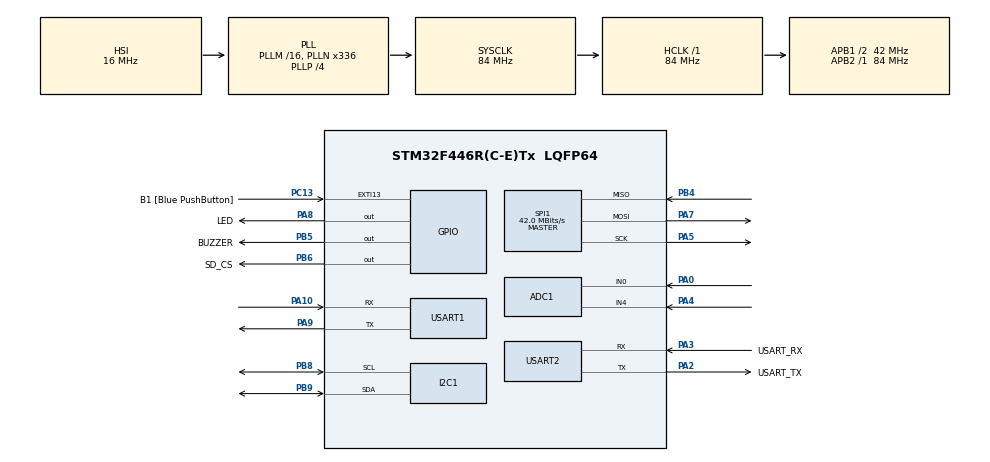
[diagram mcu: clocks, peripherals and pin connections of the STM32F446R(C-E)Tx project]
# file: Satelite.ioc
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ADC1.Channel-0\#ChannelRegularConversion=ADC_CHANNEL_0
ADC1.NbrOfConversionFlag=1
ADC1.Rank-0\#ChannelRegularConversion=1
ADC1.SamplingTime-0\#ChannelRegularConversion=ADC_SAMPLETIME_3CYCLES
ADC1.master=1
FREERTOS.Tasks01=defaultTask,24,128,StartDefaultTask,Default,NULL,Dynamic,NULL,NULL
FREERTOS.configUSE_NEWLIB_REENTRANT=1
Mcu.Family=STM32F4
Mcu.Name=STM32F446R(C-E)Tx
Mcu.Package=LQFP64
NVIC.PriorityGroup=NVIC_PRIORITYGROUP_4
NVIC.TIM1_UP_TIM10_IRQn=true\:15\:0\:false\:false\:true\:false\:false\:true\:true
NVIC.TimeBase=TIM1_UP_TIM10_IRQn
NVIC.TimeBaseIP=TIM1
NVIC.USART1_IRQn=true\:5\:0\:false\:false\:true\:true\:true\:true\:true
PA0-WKUP.Signal=ADCx_IN0
PA10.Mode=Asynchronous
PA10.Signal=USART1_RX
PA13.GPIO_Label=TMS
PA13.Mode=Serial_Wire
PA13.Signal=SYS_JTMS-SWDIO
PA14.GPIO_Label=TCK
PA14.Mode=Serial_Wire
PA14.Signal=SYS_JTCK-SWCLK
PA2.GPIO_Label=USART_TX
PA2.Mode=Asynchronous
PA2.Signal=USART2_TX
PA3.GPIO_Label=USART_RX
PA3.Mode=Asynchronous
PA3.Signal=USART2_RX
PA4.Signal=ADCx_IN4
PA5.Mode=Full_Duplex_Master
PA5.Signal=SPI1_SCK
PA7.Mode=Full_Duplex_Master
PA7.Signal=SPI1_MOSI
PA8.GPIO_Label=LED
PA8.Signal=GPIO_Output
PA9.Mode=Asynchronous
PA9.Signal=USART1_TX
PB3.GPIO_Label=SWO
PB3.Signal=SYS_JTDO-SWO
PB4.Mode=Full_Duplex_Master
PB4.Signal=SPI1_MISO
PB5.GPIO_Label=BUZZER
PB5.Signal=GPIO_Output
PB6.GPIO_Label=SD_CS
PB6.Signal=GPIO_Output
PB8.Mode=I2C
PB8.Signal=I2C1_SCL
PB9.Mode=I2C
PB9.Signal=I2C1_SDA
PC13.GPIO_Label=B1 [Blue PushButton]
PC13.GPIO_ModeDefaultEXTI=GPIO_MODE_IT_FALLING
PC13.Signal=GPXTI13
PC14-OSC32_IN.Mode=LSE-External-Oscillator
PC14-OSC32_IN.Signal=RCC_OSC32_IN
PC15-OSC32_OUT.Mode=LSE-External-Oscillator
PC15-OSC32_OUT.Signal=RCC_OSC32_OUT
PH0-OSC_IN.Mode=HSE-External-Oscillator
PH0-OSC_IN.Signal=RCC_OSC_IN
PH1-OSC_OUT.Mode=HSE-External-Oscillator
PH1-OSC_OUT.Signal=RCC_OSC_OUT
ProjectManager.HeapSize=0x200
ProjectManager.StackSize=0x400
ProjectManager.TargetToolchain=STM32CubeIDE
RCC.48MHZClocksFreq_Value=84000000
RCC.AHBFreq_Value=84000000
RCC.APB1CLKDivider=RCC_HCLK_DIV2
RCC.APB1Freq_Value=42000000
RCC.APB1TimFreq_Value=84000000
RCC.APB2Freq_Value=84000000
RCC.APB2TimFreq_Value=84000000
RCC.CortexFreq_Value=84000000
RCC.FLatency-AdvancedSettings=FLASH_LATENCY_2
RCC.HCLKFreq_Value=84000000
RCC.HSE_VALUE=8000000
RCC.HSI_VALUE=16000000
RCC.PLLN=336
RCC.PLLP=RCC_PLLP_DIV4
RCC.SYSCLKFreq_VALUE=84000000
RCC.SYSCLKSource=RCC_SYSCLKSOURCE_PLLCLK
RCC.USBFreq_Value=168000000
RCC.VCOOutputFreq_Value=336000000
SH.ADCx_IN0.0=ADC1_IN0,IN0
SH.ADCx_IN4.0=ADC1_IN4,IN4
SPI1.CalculateBaudRate=42.0 MBits/s
SPI1.Direction=SPI_DIRECTION_2LINES
SPI1.Mode=SPI_MODE_MASTER
SPI1.VirtualType=VM_MASTER
USART1.VirtualMode=VM_ASYNC
USART2.VirtualMode=VM_ASYNC
VP_FREERTOS_VS_CMSIS_V2.Mode=CMSIS_V2
VP_SYS_VS_tim1.Mode=TIM1
board=NUCLEO-F446RE

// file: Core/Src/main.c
/* USER CODE BEGIN Header */
/**
  ******************************************************************************
  * @file           : main.c
  * @brief          : Satellite Simulator — Main program
  * @description    : FreeRTOS-based satellite simulator on Nucleo-F446RE
  *                   7 tasks: IMU, BMP, Display, Telemetry, Alarm, SDLog, ESP32
  *                   4 operational modes: NOMINAL, SAFE, SCIENCE, ERROR
  *                   ESP32 WiFi bridge for remote monitoring and control
  ******************************************************************************
  */
/* USER CODE END Header */

#include "main.h"
#include "cmsis_os.h"

/* USER CODE BEGIN Includes */
#include <stdio.h>
#include <string.h>
#include <math.h>
#include "ssd1306.h"
#include "ssd1306_fonts.h"
/* USER CODE END Includes */

/* USER CODE BEGIN PTD */

/**
 * @brief IMU sensor data (MPU-6050)
 */
typedef struct {
    float accel_x;    /**< Accelerometer X axis (g)    */
    float accel_y;    /**< Accelerometer Y axis (g)    */
    float accel_z;    /**< Accelerometer Z axis (g)    */
    float gyro_x;     /**< Gyroscope X axis (deg/s)    */
    float gyro_y;     /**< Gyroscope Y axis (deg/s)    */
    float gyro_z;     /**< Gyroscope Z axis (deg/s)    */
    float temp;       /**< Die temperature (C)         */
} IMU_Data_t;

/**
 * @brief Barometric sensor data (BMP280)
 */
typedef struct {
    float temperature;  /**< Temperature (C)    */
    float pressure;     /**< Pressure (hPa)     */
    float altitude;     /**< Altitude (m)       */
} BMP_Data_t;

/**
 * @brief Alarm condition flags
 */
typedef struct {
    uint8_t tilt;           /**< Tilt threshold exceeded       */
    uint8_t temp_high;      /**< Temperature above limit       */
    uint8_t pres_abnormal;  /**< Pressure out of range         */
    uint8_t alt_critical;   /**< Altitude out of safe range    */
} Alarm_Flags_t;

/* USER CODE END PTD */

/* USER CODE BEGIN PD */

/* ---------- I2C Addresses ---------- */
#define MPU6050_ADDR        (0x68 << 1)
#define BMP280_ADDR         (0x76 << 1)

/* ---------- MPU-6050 Registers ---------- */
#define MPU_REG_WHO_AM_I    0x75
#define MPU_REG_PWR_MGMT1   0x6B
#define MPU_REG_ACCEL_CFG   0x1C
#define MPU_REG_GYRO_CFG    0x1B
#define MPU_REG_DATA_START  0x3B

/* ---------- BMP280 Registers ---------- */
#define BMP_REG_CTRL_MEAS   0xF4
#define BMP_REG_CONFIG      0xF5
#define BMP_REG_CALIB       0x88
#define BMP_REG_DATA_START  0xF7

/* ---------- Joystick Thresholds ---------- */
#define JOY_LEFT_THRESH     1000
#define JOY_RIGHT_THRESH    3000

/* ---------- Satellite Modes ---------- */
#define MODE_NOMINAL        0
#define MODE_SAFE           1
#define MODE_SCIENCE        2
#define MODE_ERROR_LOW      3
#define MODE_ERROR_HIGH     4

/* ---------- Error Acknowledgment ---------- */
#define ERROR_ACK_SEQ_LEN   3   /* Joystick sequence: L -> R -> L */

/* ---------- SD Card ---------- */
#define SD_BLOCK_SIZE       512
#define LOG_SYNC_MARKER     0xAA55AA55

/* ---------- ESP32 UART ---------- */
#define ESP_RX_BUF_SIZE     128

/* ---------- Display ---------- */
#define SCREEN_COUNT        5   /* IMU / BMP / ALARM / MODE / STATUS */

/* USER CODE END PD */

ADC_HandleTypeDef hadc1;
I2C_HandleTypeDef hi2c1;
SPI_HandleTypeDef hspi1;
UART_HandleTypeDef huart1;
UART_HandleTypeDef huart2;

/* Definitions for defaultTask */
osThreadId_t defaultTaskHandle;
const osThreadAttr_t defaultTask_attributes = {
    .name = "defaultTask",
    .stack_size = 128 * 4,
    .priority = (osPriority_t) osPriorityNormal,
};

/* USER CODE BEGIN PV */

/* ========== Shared Sensor Data ========== */
IMU_Data_t   imu_data   = {0};
BMP_Data_t   bmp_data   = {0};
Alarm_Flags_t alarm_flags = {0};

/* ========== Mutexes ========== */
osMutexId_t mutexIMU_Handle;
osMutexId_t mutexBMP_Handle;
osMutexId_t mutexAlarm_Handle;
osMutexId_t mutexI2C_Handle;
osMutexId_t mutexSPI_Handle;

const osMutexAttr_t mutexIMU_attr   = { .name = "mutexIMU"   };
const osMutexAttr_t mutexBMP_attr   = { .name = "mutexBMP"   };
const osMutexAttr_t mutexAlarm_attr = { .name = "mutexAlarm" };
const osMutexAttr_t mutexI2C_attr   = { .name = "mutexI2C"   };
const osMutexAttr_t mutexSPI_attr   = { .name = "mutexSPI"   };

/* ========== Configurable Alarm Thresholds ========== */
static volatile float alarm_tilt_g    = 1.5f;
static volatile float alarm_temp_high = 60.0f;
static volatile float alarm_pres_low  = 900.0f;
static volatile float alarm_pres_high = 1100.0f;
static volatile float alarm_alt_high  = 3000.0f;
static volatile float alarm_alt_low   = -200.0f;

/* ========== System State ========== */
static volatile uint8_t sat_mode       = MODE_NOMINAL;
static volatile uint8_t buzzer_enabled = 1;
static volatile uint8_t error_ack_step = 0;
static volatile uint8_t sd_initialized = 0;
static volatile uint8_t current_screen = 0;

/* ========== BMP280 Calibration Coefficients ========== */
static uint16_t bmp_dig_T1;
static int16_t  bmp_dig_T2, bmp_dig_T3;
static uint16_t bmp_dig_P1;
static int16_t  bmp_dig_P2, bmp_dig_P3, bmp_dig_P4, bmp_dig_P5;
static int16_t  bmp_dig_P6, bmp_dig_P7, bmp_dig_P8, bmp_dig_P9;
static int32_t  bmp_t_fine;

/* ========== ESP32 UART Reception ========== */
static uint8_t          esp_rx_byte;
static char             esp_rx_buf[ESP_RX_BUF_SIZE];
static volatile uint8_t esp_rx_idx    = 0;
static volatile uint8_t esp_cmd_ready = 0;
static char             esp_cmd[ESP_RX_BUF_SIZE];

/* ========== Task Handles ========== */
osThreadId_t taskIMU_Handle;
osThreadId_t taskBMP_Handle;
osThreadId_t taskDisplay_Handle;
osThreadId_t taskTelemetry_Handle;
osThreadId_t taskAlarm_Handle;
osThreadId_t taskSDLog_Handle;
osThreadId_t taskESP32_Handle;

/* ========== Task Attributes ========== */
const osThreadAttr_t taskIMU_attr = {
    .name = "Task_IMU",   .stack_size = 256 * 4,
    .priority = (osPriority_t) osPriorityAboveNormal
};
const osThreadAttr_t taskBMP_attr = {
    .name = "Task_BMP",   .stack_size = 256 * 4,
    .priority = (osPriority_t) osPriorityNormal
};
const osThreadAttr_t taskDisplay_attr = {
    .name = "Task_Display", .stack_size = 512 * 4,
    .priority = (osPriority_t) osPriorityNormal
};
const osThreadAttr_t taskTelemetry_attr = {
    .name = "Task_Telemetry", .stack_size = 512 * 4,
    .priority = (osPriority_t) osPriorityBelowNormal
};
const osThreadAttr_t taskAlarm_attr = {
    .name = "Task_Alarm",  .stack_size = 256 * 4,
    .priority = (osPriority_t) osPriorityAboveNormal
};
const osThreadAttr_t taskSDLog_attr = {
    .name = "Task_SDLog",  .stack_size = 512 * 4,
    .priority = (osPriority_t) osPriorityBelowNormal
};
const osThreadAttr_t taskESP32_attr = {
    .name = "Task_ESP32",  .stack_size = 512 * 4,
    .priority = (osPriority_t) osPriorityNormal
};

/* USER CODE END PV */

void SystemClock_Config(void);
static void MX_GPIO_Init(void);
static void MX_USART2_UART_Init(void);
static void MX_I2C1_Init(void);
static void MX_ADC1_Init(void);
static void MX_SPI1_Init(void);
static void MX_USART1_UART_Init(void);
void StartDefaultTask(void *argument);

/* USER CODE BEGIN PFP */
void Task_IMU(void *argument);
void Task_BMP(void *argument);
void Task_Display(void *argument);
void Task_Telemetry(void *argument);
void Task_Alarm(void *argument);
void Task_SDLog(void *argument);
void Task_ESP32(void *argument);
/* USER CODE END PFP */

/* USER CODE BEGIN 0 */

/* ================================================================
 *                    BMP280 Compensation
 * ================================================================ */

/**
 * @brief Compensate raw temperature reading using factory calibration
 * @param adc_T Raw 20-bit temperature value
 * @return Temperature in degrees Celsius
 */
static float BMP280_CompensateTemp(int32_t adc_T)
{
    float var1 = (((float)adc_T) / 16384.0f - ((float)bmp_dig_T1) / 1024.0f)
                 * ((float)bmp_dig_T2);
    float var2 = ((((float)adc_T) / 131072.0f - ((float)bmp_dig_T1) / 8192.0f)
                 * (((float)adc_T) / 131072.0f - ((float)bmp_dig_T1) / 8192.0f))
                 * ((float)bmp_dig_T3);

    bmp_t_fine = (int32_t)(var1 + var2);
    return (var1 + var2) / 5120.0f;
}

/**
 * @brief Compensate raw pressure reading using factory calibration
 * @param adc_P Raw 20-bit pressure value
 * @return Pressure in hPa
 * @note Must call BMP280_CompensateTemp() first to set bmp_t_fine
 */
static float BMP280_CompensatePressure(int32_t adc_P)
{
    float var1 = ((float)bmp_t_fine / 2.0f) - 64000.0f;
    float var2 = var1 * var1 * ((float)bmp_dig_P6) / 32768.0f;
    var2 = var2 + var1 * ((float)bmp_dig_P5) * 2.0f;
    var2 = (var2 / 4.0f) + (((float)bmp_dig_P4) * 65536.0f);
    var1 = (((float)bmp_dig_P3) * var1 * var1 / 524288.0f
           + ((float)bmp_dig_P2) * var1) / 524288.0f;
    var1 = (1.0f + var1 / 32768.0f) * ((float)bmp_dig_P1);

    if (var1 == 0.0f)
        return 0.0f;

    float p = 1048576.0f - (float)adc_P;
    p = (p - (var2 / 4096.0f)) * 6250.0f / var1;
    var1 = ((float)bmp_dig_P9) * p * p / 2147483648.0f;
    var2 = p * ((float)bmp_dig_P8) / 32768.0f;
    p = p + (var1 + var2 + ((float)bmp_dig_P7)) / 16.0f;

    return p / 100.0f;
}

/* ================================================================
 *                    Hardware Helpers
 * ================================================================ */

/**
 * @brief Read a single ADC channel (software triggered, polling)
 * @param channel ADC channel number (e.g. ADC_CHANNEL_0)
 * @return 12-bit ADC value (0–4095)
 */
static uint16_t ADC_ReadChannel(uint32_t channel)
{
    ADC_ChannelConfTypeDef config = {0};
    config.Channel     = channel;
    config.Rank        = 1;
    config.SamplingTime = ADC_SAMPLETIME_3CYCLES;

    HAL_ADC_ConfigChannel(&hadc1, &config);
    HAL_ADC_Start(&hadc1);
    HAL_ADC_PollForConversion(&hadc1, 10);
    uint16_t value = HAL_ADC_GetValue(&hadc1);
    HAL_ADC_Stop(&hadc1);

    return value;
}

/**
 * @brief Emit buzzer beeps (respects buzzer_enabled flag)
 * @param on_ms  Duration of each beep in ms
 * @param off_ms Pause between beeps in ms
 * @param count  Number of beeps
 */
static void Buzzer_Beep(uint16_t on_ms, uint16_t off_ms, uint8_t count)
{
    if (!buzzer_enabled)
        return;

    for (uint8_t i = 0; i < count; i++)
    {
        HAL_GPIO_WritePin(BUZZER_GPIO_Port, BUZZER_Pin, GPIO_PIN_SET);
        osDelay(on_ms);
        HAL_GPIO_WritePin(BUZZER_GPIO_Port, BUZZER_Pin, GPIO_PIN_RESET);
        if (i < count - 1)
            osDelay(off_ms);
    }
}

/* ================================================================
 *                    SD Card (Raw SPI)
 * ================================================================ */

static void SD_CS_Low(void)
{
    HAL_GPIO_WritePin(SD_CS_GPIO_Port, SD_CS_Pin, GPIO_PIN_RESET);
}

static void SD_CS_High(void)
{
    HAL_GPIO_WritePin(SD_CS_GPIO_Port, SD_CS_Pin, GPIO_PIN_SET);
}

static uint8_t SD_SPI_Byte(uint8_t tx_byte)
{
    uint8_t rx_byte;
    HAL_SPI_TransmitReceive(&hspi1, &tx_byte, &rx_byte, 1, HAL_MAX_DELAY);
    return rx_byte;
}

static uint8_t SD_SendCmd(uint8_t cmd, uint32_t arg)
{
    uint8_t crc = 0xFF;
    if (cmd == 0) crc = 0x95;
    if (cmd == 8) crc = 0x87;

    SD_SPI_Byte(0xFF);
    SD_SPI_Byte(0x40 | cmd);
    SD_SPI_Byte((arg >> 24) & 0xFF);
    SD_SPI_Byte((arg >> 16) & 0xFF);
    SD_SPI_Byte((arg >> 8)  & 0xFF);
    SD_SPI_Byte(arg & 0xFF);
    SD_SPI_Byte(crc);

    uint8_t response;
    for (uint8_t i = 0; i < 8; i++)
    {
        response = SD_SPI_Byte(0xFF);
        if (response != 0xFF)
            break;
    }
    return response;
}

/**
 * @brief Initialize SD card in SPI mode
 * @return 0 on success, non-zero on failure
 */
static uint8_t SD_Init(void)
{
    /* Send 80 clock pulses with CS high */
    SD_CS_High();
    for (uint8_t i = 0; i < 10; i++)
        SD_SPI_Byte(0xFF);

    /* CMD0: Go to idle state */
    SD_CS_Low();
    uint8_t res = SD_SendCmd(0, 0);
    SD_CS_High();
    SD_SPI_Byte(0xFF);
    if (res != 0x01)
        return 1;

    /* CMD8: Check voltage range */
    SD_CS_Low();
    res = SD_SendCmd(8, 0x000001AA);
    if (res == 0x01)
    {
        for (uint8_t i = 0; i < 4; i++)
            SD_SPI_Byte(0xFF);
    }
    SD_CS_High();
    SD_SPI_Byte(0xFF);

    /* ACMD41: Initialize card */
    uint16_t retry = 0;
    do {
        SD_CS_Low();
        SD_SendCmd(55, 0);
        SD_CS_High();
        SD_SPI_Byte(0xFF);

        SD_CS_Low();
        res = SD_SendCmd(41, 0x40000000);
        SD_CS_High();
        SD_SPI_Byte(0xFF);

        retry++;
        if (retry > 500)
            return 2;
        osDelay(10);
    } while (res != 0x00);

    /* CMD16: Set block length */
    SD_CS_Low();
    res = SD_SendCmd(16, SD_BLOCK_SIZE);
    SD_CS_High();
    SD_SPI_Byte(0xFF);
    if (res != 0x00)
        return 3;

    return 0;
}

/**
 * @brief Write a 512-byte block to SD card
 * @param block_addr Block address
 * @param data Pointer to 512 bytes of data
 * @return 0 on success, non-zero on failure
 */
static uint8_t SD_WriteBlock(uint32_t block_addr, const uint8_t *data)
{
    SD_CS_Low();
    uint8_t res = SD_SendCmd(24, block_addr);
    if (res != 0x00)
    {
        SD_CS_High();
        return 1;
    }

    SD_SPI_Byte(0xFF);
    SD_SPI_Byte(0xFE);  /* Start token */

    for (uint16_t i = 0; i < SD_BLOCK_SIZE; i++)
        SD_SPI_Byte(data[i]);

    SD_SPI_Byte(0xFF);  /* Dummy CRC */
    SD_SPI_Byte(0xFF);

    res = SD_SPI_Byte(0xFF);
    if ((res & 0x1F) != 0x05)
    {
        SD_CS_High();
        return 2;
    }

    /* Wait for write to complete */
    uint16_t timeout = 0;
    while (SD_SPI_Byte(0xFF) == 0x00)
    {
        timeout++;
        if (timeout > 5000)
        {
            SD_CS_High();
            return 3;
        }
    }

    SD_CS_High();
    SD_SPI_Byte(0xFF);
    return 0;
}

/* ================================================================
 *                    Mode & Command Helpers
 * ================================================================ */

/**
 * @brief Get human-readable mode name
 */
static const char *Mode_Name(uint8_t mode)
{
    switch (mode)
    {
        case MODE_NOMINAL:    return "NOMINAL";
        case MODE_SAFE:       return "SAFE";
        case MODE_SCIENCE:    return "SCIENCE";
        case MODE_ERROR_LOW:  return "ERR_LOW";
        case MODE_ERROR_HIGH: return "ERR_HIGH";
        default:              return "???";
    }
}

/**
 * @brief Parse and execute a command received from ESP32
 *
 * Supported commands:
 *   CMD:MODE:NOMINAL / SAFE / SCIENCE / ERROR_LOW / ERROR_HIGH
 *   CMD:ALARM:TILT:0.8  (and similar for TEMP, PRES_LOW, PRES_HIGH, ALT_HIGH, ALT_LOW)
 *   CMD:DUMP
 */
static void ESP32_ProcessCmd(const char *cmd)
{
    /* ---- Mode change ---- */
    if (strncmp(cmd, "CMD:MODE:", 9) == 0)
    {
        const char *mode_str = cmd + 9;

        if (strcmp(mode_str, "NOMINAL") == 0)
        {
            sat_mode = MODE_NOMINAL;
            buzzer_enabled = 1;
        }
        else if (strcmp(mode_str, "SAFE") == 0)
        {
            sat_mode = MODE_SAFE;
            buzzer_enabled = 0;
        }
        else if (strcmp(mode_str, "SCIENCE") == 0)
        {
            sat_mode = MODE_SCIENCE;
            buzzer_enabled = 1;
        }
        else if (strcmp(mode_str, "ERROR_LOW") == 0)
        {
            sat_mode = MODE_ERROR_LOW;
            buzzer_enabled = 1;
            error_ack_step = 0;
        }
        else if (strcmp(mode_str, "ERROR_HIGH") == 0)
        {
            sat_mode = MODE_ERROR_HIGH;
            buzzer_enabled = 1;
            error_ack_step = 0;
        }
    }
    /* ---- Alarm threshold update ---- */
    else if (strncmp(cmd, "CMD:ALARM:", 10) == 0)
    {
        const char *param = cmd + 10;
        float value;

        if (sscanf(param, "TILT:%f", &value) == 1)
            alarm_tilt_g = value;
        else if (sscanf(param, "TEMP:%f", &value) == 1)
            alarm_temp_high = value;
        else if (sscanf(param, "PRES_LOW:%f", &value) == 1)
            alarm_pres_low = value;
        else if (sscanf(param, "PRES_HIGH:%f", &value) == 1)
            alarm_pres_high = value;
        else if (sscanf(param, "ALT_HIGH:%f", &value) == 1)
            alarm_alt_high = value;
        else if (sscanf(param, "ALT_LOW:%f", &value) == 1)
            alarm_alt_low = value;
    }
    /* ---- Data dump request ---- */
    else if (strcmp(cmd, "CMD:DUMP") == 0)
    {
        static char dump_buf[200];

        IMU_Data_t imu_local;
        osMutexAcquire(mutexIMU_Handle, osWaitForever);
        imu_local = imu_data;
        osMutexRelease(mutexIMU_Handle);

        BMP_Data_t bmp_local;
        osMutexAcquire(mutexBMP_Handle, osWaitForever);
        bmp_local = bmp_data;
        osMutexRelease(mutexBMP_Handle);

        sprintf(dump_buf,
            "DUMP:AX=%.2f,AY=%.2f,AZ=%.2f,T=%.1f,P=%.1f,ALT=%.1f,MODE=%s\r\n",
            imu_local.accel_x, imu_local.accel_y, imu_local.accel_z,
            bmp_local.temperature, bmp_local.pressure, bmp_local.altitude,
            Mode_Name(sat_mode));

        HAL_UART_Transmit(&huart1, (uint8_t *)dump_buf, strlen(dump_buf), HAL_MAX_DELAY);
    }
}

/* USER CODE END 0 */

int main(void)
{

  /* MCU Configuration--------------------------------------------------------*/

  /* Reset of all peripherals, Initializes the Flash interface and the Systick. */
  HAL_Init();

  /* Configure the system clock */
  SystemClock_Config();

  /* Initialize all configured peripherals */
  MX_GPIO_Init();
  MX_USART2_UART_Init();
  MX_I2C1_Init();
  MX_ADC1_Init();
  MX_SPI1_Init();
  MX_USART1_UART_Init();

  /* USER CODE BEGIN 2 */
  /* Start listening for ESP32 commands on USART1 (interrupt-driven) */
  HAL_UART_Receive_IT(&huart1, &esp_rx_byte, 1);
  /* USER CODE END 2 */

  /* Init scheduler */
  osKernelInitialize();

  /* USER CODE BEGIN RTOS_MUTEX */
  mutexI2C_Handle   = osMutexNew(&mutexI2C_attr);
  mutexIMU_Handle   = osMutexNew(&mutexIMU_attr);
  mutexBMP_Handle   = osMutexNew(&mutexBMP_attr);
  mutexAlarm_Handle = osMutexNew(&mutexAlarm_attr);
  mutexSPI_Handle   = osMutexNew(&mutexSPI_attr);
  /* USER CODE END RTOS_MUTEX */

  /* Create the thread(s) */
  /* creation of defaultTask */
  defaultTaskHandle = osThreadNew(StartDefaultTask, NULL, &defaultTask_attributes);

  /* USER CODE BEGIN RTOS_THREADS */
  taskIMU_Handle       = osThreadNew(Task_IMU,       NULL, &taskIMU_attr);
  taskBMP_Handle       = osThreadNew(Task_BMP,       NULL, &taskBMP_attr);
  taskDisplay_Handle   = osThreadNew(Task_Display,   NULL, &taskDisplay_attr);
  taskTelemetry_Handle = osThreadNew(Task_Telemetry, NULL, &taskTelemetry_attr);
  taskAlarm_Handle     = osThreadNew(Task_Alarm,     NULL, &taskAlarm_attr);
  taskSDLog_Handle     = osThreadNew(Task_SDLog,     NULL, &taskSDLog_attr);
  taskESP32_Handle     = osThreadNew(Task_ESP32,     NULL, &taskESP32_attr);
  /* USER CODE END RTOS_THREADS */

  /* Start scheduler */
  osKernelStart();

  /* We should never get here as control is now taken by the scheduler */

  /* Infinite loop */
  while (1)
  {

  }
}

void SystemClock_Config(void)
{
  RCC_OscInitTypeDef RCC_OscInitStruct = {0};
  RCC_ClkInitTypeDef RCC_ClkInitStruct = {0};

  __HAL_RCC_PWR_CLK_ENABLE();
  __HAL_PWR_VOLTAGESCALING_CONFIG(PWR_REGULATOR_VOLTAGE_SCALE3);

  RCC_OscInitStruct.OscillatorType = RCC_OSCILLATORTYPE_HSI;
  RCC_OscInitStruct.HSIState = RCC_HSI_ON;
  RCC_OscInitStruct.HSICalibrationValue = RCC_HSICALIBRATION_DEFAULT;
  RCC_OscInitStruct.PLL.PLLState = RCC_PLL_ON;
  RCC_OscInitStruct.PLL.PLLSource = RCC_PLLSOURCE_HSI;
  RCC_OscInitStruct.PLL.PLLM = 16;
  RCC_OscInitStruct.PLL.PLLN = 336;
  RCC_OscInitStruct.PLL.PLLP = RCC_PLLP_DIV4;
  RCC_OscInitStruct.PLL.PLLQ = 2;
  RCC_OscInitStruct.PLL.PLLR = 2;
  if (HAL_RCC_OscConfig(&RCC_OscInitStruct) != HAL_OK)
    Error_Handler();

  RCC_ClkInitStruct.ClockType = RCC_CLOCKTYPE_HCLK | RCC_CLOCKTYPE_SYSCLK
                              | RCC_CLOCKTYPE_PCLK1 | RCC_CLOCKTYPE_PCLK2;
  RCC_ClkInitStruct.SYSCLKSource = RCC_SYSCLKSOURCE_PLLCLK;
  RCC_ClkInitStruct.AHBCLKDivider = RCC_SYSCLK_DIV1;
  RCC_ClkInitStruct.APB1CLKDivider = RCC_HCLK_DIV2;
  RCC_ClkInitStruct.APB2CLKDivider = RCC_HCLK_DIV1;
  if (HAL_RCC_ClockConfig(&RCC_ClkInitStruct, FLASH_LATENCY_2) != HAL_OK)
    Error_Handler();
}

static void MX_ADC1_Init(void)
{
  ADC_ChannelConfTypeDef sConfig = {0};

  hadc1.Instance = ADC1;
  hadc1.Init.ClockPrescaler = ADC_CLOCK_SYNC_PCLK_DIV4;
  hadc1.Init.Resolution = ADC_RESOLUTION_12B;
  hadc1.Init.ScanConvMode = DISABLE;
  hadc1.Init.ContinuousConvMode = DISABLE;
  hadc1.Init.DiscontinuousConvMode = DISABLE;
  hadc1.Init.ExternalTrigConvEdge = ADC_EXTERNALTRIGCONVEDGE_NONE;
  hadc1.Init.ExternalTrigConv = ADC_SOFTWARE_START;
  hadc1.Init.DataAlign = ADC_DATAALIGN_RIGHT;
  hadc1.Init.NbrOfConversion = 1;
  hadc1.Init.DMAContinuousRequests = DISABLE;
  hadc1.Init.EOCSelection = ADC_EOC_SINGLE_CONV;
  if (HAL_ADC_Init(&hadc1) != HAL_OK)
    Error_Handler();

  sConfig.Channel = ADC_CHANNEL_0;
  sConfig.Rank = 1;
  sConfig.SamplingTime = ADC_SAMPLETIME_3CYCLES;
  if (HAL_ADC_ConfigChannel(&hadc1, &sConfig) != HAL_OK)
    Error_Handler();
}

static void MX_I2C1_Init(void)
{
  hi2c1.Instance = I2C1;
  hi2c1.Init.ClockSpeed = 100000;
  hi2c1.Init.DutyCycle = I2C_DUTYCYCLE_2;
  hi2c1.Init.OwnAddress1 = 0;
  hi2c1.Init.AddressingMode = I2C_ADDRESSINGMODE_7BIT;
  hi2c1.Init.DualAddressMode = I2C_DUALADDRESS_DISABLE;
  hi2c1.Init.OwnAddress2 = 0;
  hi2c1.Init.GeneralCallMode = I2C_GENERALCALL_DISABLE;
  hi2c1.Init.NoStretchMode = I2C_NOSTRETCH_DISABLE;
  if (HAL_I2C_Init(&hi2c1) != HAL_OK)
    Error_Handler();
}

static void MX_SPI1_Init(void)
{
  hspi1.Instance = SPI1;
  hspi1.Init.Mode = SPI_MODE_MASTER;
  hspi1.Init.Direction = SPI_DIRECTION_2LINES;
  hspi1.Init.DataSize = SPI_DATASIZE_8BIT;
  hspi1.Init.CLKPolarity = SPI_POLARITY_LOW;
  hspi1.Init.CLKPhase = SPI_PHASE_1EDGE;
  hspi1.Init.NSS = SPI_NSS_SOFT;
  hspi1.Init.BaudRatePrescaler = SPI_BAUDRATEPRESCALER_2;
  hspi1.Init.FirstBit = SPI_FIRSTBIT_MSB;
  hspi1.Init.TIMode = SPI_TIMODE_DISABLE;
  hspi1.Init.CRCCalculation = SPI_CRCCALCULATION_DISABLE;
  hspi1.Init.CRCPolynomial = 10;
  if (HAL_SPI_Init(&hspi1) != HAL_OK)
    Error_Handler();
}

static void MX_USART1_UART_Init(void)
{
  huart1.Instance = USART1;
  huart1.Init.BaudRate = 115200;
  huart1.Init.WordLength = UART_WORDLENGTH_8B;
  huart1.Init.StopBits = UART_STOPBITS_1;
  huart1.Init.Parity = UART_PARITY_NONE;
  huart1.Init.Mode = UART_MODE_TX_RX;
  huart1.Init.HwFlowCtl = UART_HWCONTROL_NONE;
  huart1.Init.OverSampling = UART_OVERSAMPLING_16;
  if (HAL_UART_Init(&huart1) != HAL_OK)
    Error_Handler();
}

static void MX_USART2_UART_Init(void)
{
  huart2.Instance = USART2;
  huart2.Init.BaudRate = 115200;
  huart2.Init.WordLength = UART_WORDLENGTH_8B;
  huart2.Init.StopBits = UART_STOPBITS_1;
  huart2.Init.Parity = UART_PARITY_NONE;
  huart2.Init.Mode = UART_MODE_TX_RX;
  huart2.Init.HwFlowCtl = UART_HWCONTROL_NONE;
  huart2.Init.OverSampling = UART_OVERSAMPLING_16;
  if (HAL_UART_Init(&huart2) != HAL_OK)
    Error_Handler();
}

static void MX_GPIO_Init(void)
{
  GPIO_InitTypeDef GPIO_InitStruct = {0};

  __HAL_RCC_GPIOC_CLK_ENABLE();
  __HAL_RCC_GPIOH_CLK_ENABLE();
  __HAL_RCC_GPIOA_CLK_ENABLE();
  __HAL_RCC_GPIOB_CLK_ENABLE();

  HAL_GPIO_WritePin(LED_GPIO_Port, LED_Pin, GPIO_PIN_RESET);
  HAL_GPIO_WritePin(GPIOB, BUZZER_Pin | SD_CS_Pin, GPIO_PIN_RESET);

  GPIO_InitStruct.Pin  = B1_Pin;
  GPIO_InitStruct.Mode = GPIO_MODE_IT_FALLING;
  GPIO_InitStruct.Pull = GPIO_NOPULL;
  HAL_GPIO_Init(B1_GPIO_Port, &GPIO_InitStruct);

  GPIO_InitStruct.Pin   = LED_Pin;
  GPIO_InitStruct.Mode  = GPIO_MODE_OUTPUT_PP;
  GPIO_InitStruct.Pull  = GPIO_NOPULL;
  GPIO_InitStruct.Speed = GPIO_SPEED_FREQ_LOW;
  HAL_GPIO_Init(LED_GPIO_Port, &GPIO_InitStruct);

  GPIO_InitStruct.Pin   = BUZZER_Pin | SD_CS_Pin;
  GPIO_InitStruct.Mode  = GPIO_MODE_OUTPUT_PP;
  GPIO_InitStruct.Pull  = GPIO_NOPULL;
  GPIO_InitStruct.Speed = GPIO_SPEED_FREQ_LOW;
  HAL_GPIO_Init(GPIOB, &GPIO_InitStruct);
}

/* USER CODE BEGIN 4 */

/* ================================================================
 *              UART1 Interrupt — ESP32 Reception
 * ================================================================ */

/**
 * @brief UART RX complete callback — accumulates bytes into a command buffer
 * @note Called from ISR context. Builds a line until \n or \r is received.
 */
void HAL_UART_RxCpltCallback(UART_HandleTypeDef *huart)
{
    if (huart->Instance == USART1)
    {
        if (esp_rx_byte == '\n' || esp_rx_byte == '\r')
        {
            if (esp_rx_idx > 0 && !esp_cmd_ready)
            {
                esp_rx_buf[esp_rx_idx] = '\0';
                memcpy(esp_cmd, esp_rx_buf, esp_rx_idx + 1);
                esp_cmd_ready = 1;
                esp_rx_idx = 0;
            }
        }
        else
        {
            if (esp_rx_idx < ESP_RX_BUF_SIZE - 1)
                esp_rx_buf[esp_rx_idx++] = (char)esp_rx_byte;
        }

        /* Re-arm interrupt for next byte */
        HAL_UART_Receive_IT(&huart1, &esp_rx_byte, 1);
    }
}

/* ================================================================
 *              Task_IMU — MPU-6050 Accelerometer & Gyroscope
 *              Rate: NOMINAL=20Hz, SCIENCE=100Hz, SAFE=5Hz
 * ================================================================ */
void Task_IMU(void *argument)
{
    uint8_t reg;

    /* --- Device reset --- */
    osMutexAcquire(mutexI2C_Handle, osWaitForever);
    HAL_I2C_Mem_Read(&hi2c1, MPU6050_ADDR, MPU_REG_WHO_AM_I, 1, &reg, 1, HAL_MAX_DELAY);
    reg = 0x80;
    HAL_I2C_Mem_Write(&hi2c1, MPU6050_ADDR, MPU_REG_PWR_MGMT1, 1, &reg, 1, HAL_MAX_DELAY);
    osMutexRelease(mutexI2C_Handle);
    osDelay(100);

    /* --- Wake up + configure --- */
    osMutexAcquire(mutexI2C_Handle, osWaitForever);
    reg = 0x00;
    HAL_I2C_Mem_Write(&hi2c1, MPU6050_ADDR, MPU_REG_PWR_MGMT1, 1, &reg, 1, HAL_MAX_DELAY);
    HAL_Delay(50);
    reg = 0x00;  /* +-2g */
    HAL_I2C_Mem_Write(&hi2c1, MPU6050_ADDR, MPU_REG_ACCEL_CFG, 1, &reg, 1, HAL_MAX_DELAY);
    reg = 0x00;  /* +-250 deg/s */
    HAL_I2C_Mem_Write(&hi2c1, MPU6050_ADDR, MPU_REG_GYRO_CFG, 1, &reg, 1, HAL_MAX_DELAY);
    osMutexRelease(mutexI2C_Handle);
    osDelay(100);

    /* --- Read loop --- */
    for (;;)
    {
        uint8_t buf[14];

        osMutexAcquire(mutexI2C_Handle, osWaitForever);
        HAL_I2C_Mem_Read(&hi2c1, MPU6050_ADDR, MPU_REG_DATA_START, 1, buf, 14, HAL_MAX_DELAY);
        osMutexRelease(mutexI2C_Handle);

        /* Assemble 16-bit values (big-endian, proper cast) */
        int16_t raw_ax = (int16_t)((uint16_t)buf[0]  << 8 | buf[1]);
        int16_t raw_ay = (int16_t)((uint16_t)buf[2]  << 8 | buf[3]);
        int16_t raw_az = (int16_t)((uint16_t)buf[4]  << 8 | buf[5]);
        int16_t raw_t  = (int16_t)((uint16_t)buf[6]  << 8 | buf[7]);
        int16_t raw_gx = (int16_t)((uint16_t)buf[8]  << 8 | buf[9]);
        int16_t raw_gy = (int16_t)((uint16_t)buf[10] << 8 | buf[11]);
        int16_t raw_gz = (int16_t)((uint16_t)buf[12] << 8 | buf[13]);

        /* Convert and store */
        osMutexAcquire(mutexIMU_Handle, osWaitForever);
        imu_data.accel_x = raw_ax / 16384.0f;   /* +-2g  = 16384 LSB/g   */
        imu_data.accel_y = raw_ay / 16384.0f;
        imu_data.accel_z = raw_az / 16384.0f;
        imu_data.gyro_x  = raw_gx / 131.0f;     /* +-250 = 131 LSB/dps   */
        imu_data.gyro_y  = raw_gy / 131.0f;
        imu_data.gyro_z  = raw_gz / 131.0f;
        imu_data.temp    = (raw_t / 340.0f) + 36.53f;
        osMutexRelease(mutexIMU_Handle);

        /* Adapt rate to current mode */
        uint32_t period = 50;
        if (sat_mode == MODE_SCIENCE)    period = 10;
        else if (sat_mode == MODE_SAFE)  period = 200;
        osDelay(period);
    }
}

/* ================================================================
 *              Task_BMP — BMP280 Temperature & Pressure
 *              Rate: NOMINAL=2Hz, SCIENCE=5Hz, SAFE=0.5Hz
 * ================================================================ */
void Task_BMP(void *argument)
{
    uint8_t calib[26];
    uint8_t reg;

    /* --- Read calibration data --- */
    osMutexAcquire(mutexI2C_Handle, osWaitForever);
    HAL_I2C_Mem_Read(&hi2c1, BMP280_ADDR, BMP_REG_CALIB, 1, calib, 26, HAL_MAX_DELAY);
    osMutexRelease(mutexI2C_Handle);

    bmp_dig_T1 = (uint16_t)(calib[1]  << 8 | calib[0]);
    bmp_dig_T2 = (int16_t) (calib[3]  << 8 | calib[2]);
    bmp_dig_T3 = (int16_t) (calib[5]  << 8 | calib[4]);
    bmp_dig_P1 = (uint16_t)(calib[7]  << 8 | calib[6]);
    bmp_dig_P2 = (int16_t) (calib[9]  << 8 | calib[8]);
    bmp_dig_P3 = (int16_t) (calib[11] << 8 | calib[10]);
    bmp_dig_P4 = (int16_t) (calib[13] << 8 | calib[12]);
    bmp_dig_P5 = (int16_t) (calib[15] << 8 | calib[14]);
    bmp_dig_P6 = (int16_t) (calib[17] << 8 | calib[16]);
    bmp_dig_P7 = (int16_t) (calib[19] << 8 | calib[18]);
    bmp_dig_P8 = (int16_t) (calib[21] << 8 | calib[20]);
    bmp_dig_P9 = (int16_t) (calib[23] << 8 | calib[22]);

    /* --- Configure: oversampling x1, normal mode --- */
    osMutexAcquire(mutexI2C_Handle, osWaitForever);
    reg = 0x00;
    HAL_I2C_Mem_Write(&hi2c1, BMP280_ADDR, BMP_REG_CONFIG, 1, &reg, 1, HAL_MAX_DELAY);
    reg = 0x27;  /* osrs_t=001 osrs_p=001 mode=11 */
    HAL_I2C_Mem_Write(&hi2c1, BMP280_ADDR, BMP_REG_CTRL_MEAS, 1, &reg, 1, HAL_MAX_DELAY);
    osMutexRelease(mutexI2C_Handle);
    osDelay(100);

    /* --- Read loop --- */
    for (;;)
    {
        uint8_t data[6];

        osMutexAcquire(mutexI2C_Handle, osWaitForever);
        HAL_I2C_Mem_Read(&hi2c1, BMP280_ADDR, BMP_REG_DATA_START, 1, data, 6, HAL_MAX_DELAY);
        osMutexRelease(mutexI2C_Handle);

        int32_t adc_P = ((int32_t)data[0] << 12) | ((int32_t)data[1] << 4) | ((int32_t)data[2] >> 4);
        int32_t adc_T = ((int32_t)data[3] << 12) | ((int32_t)data[4] << 4) | ((int32_t)data[5] >> 4);

        float temp = BMP280_CompensateTemp(adc_T);
        float pres = BMP280_CompensatePressure(adc_P);
        float alt  = 44330.0f * (1.0f - powf(pres / 1013.25f, 0.1903f));

        osMutexAcquire(mutexBMP_Handle, osWaitForever);
        bmp_data.temperature = temp;
        bmp_data.pressure    = pres;
        bmp_data.altitude    = alt;
        osMutexRelease(mutexBMP_Handle);

        uint32_t period = 500;
        if (sat_mode == MODE_SCIENCE)    period = 200;
        else if (sat_mode == MODE_SAFE)  period = 2000;
        osDelay(period);
    }
}

/* ================================================================
 *              Task_Alarm — Threshold Monitoring & Buzzer
 *              Rate: 2Hz (skipped in SAFE mode)
 * ================================================================ */
void Task_Alarm(void *argument)
{
    osDelay(5000);  /* Let sensors stabilize */

    for (;;)
    {
        if (sat_mode == MODE_SAFE)
        {
            osDelay(1000);
            continue;
        }

        /* Read current sensor values */
        IMU_Data_t imu_local;
        osMutexAcquire(mutexIMU_Handle, osWaitForever);
        imu_local = imu_data;
        osMutexRelease(mutexIMU_Handle);

        BMP_Data_t bmp_local;
        osMutexAcquire(mutexBMP_Handle, osWaitForever);
        bmp_local = bmp_data;
        osMutexRelease(mutexBMP_Handle);

        /* Evaluate conditions */
        uint8_t tilt    = (fabsf(imu_local.accel_x) > alarm_tilt_g
                        || fabsf(imu_local.accel_y) > alarm_tilt_g) ? 1 : 0;
        uint8_t temp_hi = (bmp_local.temperature > alarm_temp_high) ? 1 : 0;
        uint8_t pres_ab = (bmp_local.pressure < alarm_pres_low
                        || bmp_local.pressure > alarm_pres_high) ? 1 : 0;
        uint8_t alt_cr  = (bmp_local.altitude > alarm_alt_high
                        || bmp_local.altitude < alarm_alt_low) ? 1 : 0;

        /* Update shared flags */
        osMutexAcquire(mutexAlarm_Handle, osWaitForever);
        alarm_flags.tilt          = tilt;
        alarm_flags.temp_high     = temp_hi;
        alarm_flags.pres_abnormal = pres_ab;
        alarm_flags.alt_critical  = alt_cr;
        osMutexRelease(mutexAlarm_Handle);

        /* Sound buzzer (only in NOMINAL/SCIENCE — ERROR has its own logic) */
        if (sat_mode == MODE_NOMINAL || sat_mode == MODE_SCIENCE)
        {
            uint8_t total = tilt + temp_hi + pres_ab + alt_cr;
            if (alt_cr || pres_ab)
                Buzzer_Beep(500, 200, 1);       /* Critical: long beep */
            else if (total > 0)
                Buzzer_Beep(100, 100, total);   /* Warning: short beeps */
        }

        osDelay(500);
    }
}

/* ================================================================
 *              Task_Display — OLED SSD1306 + Joystick Navigation
 *              Rate: 10Hz
 *              5 screens: IMU / BMP / ALARM / MODE / STATUS
 *              In ERROR mode: override with ack screen (R-L-R)
 * ================================================================ */
void Task_Display(void *argument)
{
    char line[22];
    uint8_t joy_locked   = 0;
    uint8_t prev_joy_dir = 0;  /* 0=center, 1=left, 2=right */

    /* Initialize OLED */
    osMutexAcquire(mutexI2C_Handle, osWaitForever);
    ssd1306_Init();
    osMutexRelease(mutexI2C_Handle);
    osDelay(100);

    for (;;)
    {
        /* --- Read joystick --- */
        uint16_t joy_x = ADC_ReadChannel(ADC_CHANNEL_0);
        uint16_t joy_y = ADC_ReadChannel(ADC_CHANNEL_4);

        uint8_t joy_dir = 0;
        if (joy_x < JOY_LEFT_THRESH)       joy_dir = 1;
        else if (joy_x > JOY_RIGHT_THRESH) joy_dir = 2;

        /* --- ERROR mode: joystick used for ack sequence --- */
        if (sat_mode == MODE_ERROR_LOW || sat_mode == MODE_ERROR_HIGH)
        {
            if (joy_dir != 0 && joy_dir != prev_joy_dir)
            {
                const uint8_t expected[] = {1, 2, 1};  /* L, R, L */
                if (joy_dir == expected[error_ack_step])
                {
                    error_ack_step++;
                    if (error_ack_step >= ERROR_ACK_SEQ_LEN)
                    {
                        sat_mode = MODE_NOMINAL;
                        error_ack_step = 0;
                        Buzzer_Beep(50, 50, 3);  /* Confirmation */
                        HAL_UART_Transmit(&huart1,
                            (uint8_t *)"MODE:NOMINAL\r\n", 14, HAL_MAX_DELAY);
                    }
                }
                else
                {
                    error_ack_step = 0;
                }
            }
            prev_joy_dir = joy_dir;
        }
        /* --- Normal mode: screen navigation --- */
        else
        {
            if (!joy_locked)
            {
                if (joy_x < JOY_LEFT_THRESH)
                {
                    if (current_screen < SCREEN_COUNT - 1) current_screen++;
                    joy_locked = 1;
                }
                else if (joy_x > JOY_RIGHT_THRESH)
                {
                    if (current_screen > 0) current_screen--;
                    joy_locked = 1;
                }
            }
            else
            {
                if (joy_x > JOY_LEFT_THRESH && joy_x < JOY_RIGHT_THRESH)
                    joy_locked = 0;
            }
            prev_joy_dir = joy_dir;
        }

        /* --- Grab local copies of shared data --- */
        IMU_Data_t imu_local;
        osMutexAcquire(mutexIMU_Handle, osWaitForever);
        imu_local = imu_data;
        osMutexRelease(mutexIMU_Handle);

        BMP_Data_t bmp_local;
        osMutexAcquire(mutexBMP_Handle, osWaitForever);
        bmp_local = bmp_data;
        osMutexRelease(mutexBMP_Handle);

        Alarm_Flags_t alarm_local;
        osMutexAcquire(mutexAlarm_Handle, osWaitForever);
        alarm_local = alarm_flags;
        osMutexRelease(mutexAlarm_Handle);

        /* --- Render --- */
        osMutexAcquire(mutexI2C_Handle, osWaitForever);
        ssd1306_Fill(Black);

        if (sat_mode == MODE_ERROR_LOW || sat_mode == MODE_ERROR_HIGH)
        {
            /* Error override screen */
            ssd1306_SetCursor(0, 0);
            ssd1306_WriteString("!! ERROR !!", Font_7x10, White);

            ssd1306_SetCursor(0, 14);
            ssd1306_WriteString(
                sat_mode == MODE_ERROR_HIGH ? "SEVERITY: HIGH" : "SEVERITY: LOW",
                Font_7x10, White);

            ssd1306_SetCursor(0, 28);
            ssd1306_WriteString("ACK: R-L-R", Font_7x10, White);

            sprintf(line, "Step: %d/%d", error_ack_step, ERROR_ACK_SEQ_LEN);
            ssd1306_SetCursor(0, 42);
            ssd1306_WriteString(line, Font_7x10, White);
        }
        else
        {
            switch (current_screen)
            {
                case 0: /* --- IMU --- */
                    ssd1306_SetCursor(0, 0);
                    ssd1306_WriteString("[IMU]", Font_7x10, White);

                    sprintf(line, "AX:%.2f", imu_local.accel_x);
                    ssd1306_SetCursor(0, 14);
                    ssd1306_WriteString(line, Font_7x10, White);

                    sprintf(line, "AY:%.2f", imu_local.accel_y);
                    ssd1306_SetCursor(0, 26);
                    ssd1306_WriteString(line, Font_7x10, White);

                    sprintf(line, "AZ:%.2f", imu_local.accel_z);
                    ssd1306_SetCursor(0, 38);
                    ssd1306_WriteString(line, Font_7x10, White);

                    sprintf(line, "T:%.1fC", imu_local.temp);
                    ssd1306_SetCursor(0, 50);
                    ssd1306_WriteString(line, Font_7x10, White);
                    break;

                case 1: /* --- BMP280 --- */
                    ssd1306_SetCursor(0, 0);
                    ssd1306_WriteString("[BMP280]", Font_7x10, White);

                    sprintf(line, "T:%.1f C", bmp_local.temperature);
                    ssd1306_SetCursor(0, 14);
                    ssd1306_WriteString(line, Font_7x10, White);

                    sprintf(line, "P:%.1f hPa", bmp_local.pressure);
                    ssd1306_SetCursor(0, 28);
                    ssd1306_WriteString(line, Font_7x10, White);

                    sprintf(line, "Alt:%.1f m", bmp_local.altitude);
                    ssd1306_SetCursor(0, 42);
                    ssd1306_WriteString(line, Font_7x10, White);
                    break;

                case 2: /* --- ALARM --- */
                    ssd1306_SetCursor(0, 0);
                    ssd1306_WriteString("[ALARM]", Font_7x10, White);

                    sprintf(line, "TILT: %s", alarm_local.tilt ? "! ALERT" : "OK");
                    ssd1306_SetCursor(0, 14);
                    ssd1306_WriteString(line, Font_7x10, White);

                    sprintf(line, "TEMP: %s", alarm_local.temp_high ? "! HIGH" : "OK");
                    ssd1306_SetCursor(0, 26);
                    ssd1306_WriteString(line, Font_7x10, White);

                    sprintf(line, "PRES: %s", alarm_local.pres_abnormal ? "! ABNORM" : "OK");
                    ssd1306_SetCursor(0, 38);
                    ssd1306_WriteString(line, Font_7x10, White);

                    sprintf(line, "ALT:  %s", alarm_local.alt_critical ? "! CRIT" : "OK");
                    ssd1306_SetCursor(0, 50);
                    ssd1306_WriteString(line, Font_7x10, White);
                    break;

                case 3: /* --- MODE --- */
                    ssd1306_SetCursor(0, 0);
                    ssd1306_WriteString("[MODE]", Font_7x10, White);

                    sprintf(line, "Buzzer: %s", buzzer_enabled ? "ON" : "OFF");
                    ssd1306_SetCursor(0, 14);
                    ssd1306_WriteString(line, Font_7x10, White);

                    ssd1306_SetCursor(0, 28);
                    ssd1306_WriteString("ESP32: UART1", Font_7x10, White);
                    break;

                case 4: /* --- STATUS --- */
                    ssd1306_SetCursor(0, 0);
                    ssd1306_WriteString("[STATUS]", Font_7x10, White);

                    ssd1306_SetCursor(0, 14);
                    ssd1306_WriteString("IMU:OK  BMP:OK", Font_7x10, White);

                    sprintf(line, "SD:%s  GPS:--", sd_initialized ? "OK" : "--");
                    ssd1306_SetCursor(0, 28);
                    ssd1306_WriteString(line, Font_7x10, White);

                    sprintf(line, "JX:%d JY:%d", joy_x, joy_y);
                    ssd1306_SetCursor(0, 42);
                    ssd1306_WriteString(line, Font_7x10, White);
                    break;
            }

            /* Mode indicator (top right, all screens) */
            ssd1306_SetCursor(70, 0);
            ssd1306_WriteString((char *)Mode_Name(sat_mode), Font_7x10, White);

            /* Page indicator (bottom right) */
            sprintf(line, "%d/%d", current_screen + 1, SCREEN_COUNT);
            ssd1306_SetCursor(100, 54);
            ssd1306_WriteString(line, Font_7x10, White);
        }

        ssd1306_UpdateScreen();
        osMutexRelease(mutexI2C_Handle);

        osDelay(100);
    }
}

/* ================================================================
 *              Task_Telemetry — CSV output on UART2 + UART1
 *              Rate: NOMINAL=5Hz, SCIENCE=10Hz, SAFE=1Hz
 * ================================================================ */
void Task_Telemetry(void *argument)
{
    static char tx[128];

    const char *header = "AX,AY,AZ,GX,GY,GZ,T_IMU,T_BMP,P,ALT,JX,JY,ALARMS\r\n";
    HAL_UART_Transmit(&huart2, (uint8_t *)header, strlen(header), HAL_MAX_DELAY);

    for (;;)
    {
        /* Local copies */
        IMU_Data_t imu_local;
        osMutexAcquire(mutexIMU_Handle, osWaitForever);
        imu_local = imu_data;
        osMutexRelease(mutexIMU_Handle);

        BMP_Data_t bmp_local;
        osMutexAcquire(mutexBMP_Handle, osWaitForever);
        bmp_local = bmp_data;
        osMutexRelease(mutexBMP_Handle);

        Alarm_Flags_t alarm_local;
        osMutexAcquire(mutexAlarm_Handle, osWaitForever);
        alarm_local = alarm_flags;
        osMutexRelease(mutexAlarm_Handle);

        uint16_t joy_x = ADC_ReadChannel(ADC_CHANNEL_0);
        uint16_t joy_y = ADC_ReadChannel(ADC_CHANNEL_4);

        uint8_t alarm_bits = alarm_local.tilt
                           | (alarm_local.temp_high     << 1)
                           | (alarm_local.pres_abnormal << 2)
                           | (alarm_local.alt_critical  << 3);

        /* Send in 3 chunks to avoid stack overflow */
        sprintf(tx, "%.2f,%.2f,%.2f,%.1f,%.1f,%.1f,",
            imu_local.accel_x, imu_local.accel_y, imu_local.accel_z,
            imu_local.gyro_x,  imu_local.gyro_y,  imu_local.gyro_z);
        HAL_UART_Transmit(&huart2, (uint8_t *)tx, strlen(tx), HAL_MAX_DELAY);
        HAL_UART_Transmit(&huart1, (uint8_t *)tx, strlen(tx), HAL_MAX_DELAY);

        sprintf(tx, "%.1f,%.1f,%.1f,%.1f,",
            imu_local.temp, bmp_local.temperature,
            bmp_local.pressure, bmp_local.altitude);
        HAL_UART_Transmit(&huart2, (uint8_t *)tx, strlen(tx), HAL_MAX_DELAY);
        HAL_UART_Transmit(&huart1, (uint8_t *)tx, strlen(tx), HAL_MAX_DELAY);

        sprintf(tx, "%d,%d,%d\r\n", joy_x, joy_y, alarm_bits);
        HAL_UART_Transmit(&huart2, (uint8_t *)tx, strlen(tx), HAL_MAX_DELAY);
        HAL_UART_Transmit(&huart1, (uint8_t *)tx, strlen(tx), HAL_MAX_DELAY);

        uint32_t period = 200;
        if (sat_mode == MODE_SCIENCE)    period = 100;
        else if (sat_mode == MODE_SAFE)  period = 1000;
        osDelay(period);
    }
}

/* ================================================================
 *              Task_ESP32 — Process commands from WiFi bridge
 *              Rate: 20Hz (polling esp_cmd_ready flag)
 * ================================================================ */
void Task_ESP32(void *argument)
{
    osDelay(1000);

    /* Announce initial mode to ESP32 */
    const char *init_msg = "MODE:NOMINAL\r\n";
    HAL_UART_Transmit(&huart1, (uint8_t *)init_msg, strlen(init_msg), HAL_MAX_DELAY);

    for (;;)
    {
        if (esp_cmd_ready)
        {
            ESP32_ProcessCmd(esp_cmd);
            esp_cmd_ready = 0;

            /* Echo current mode back to ESP32 */
            static char mode_msg[32];
            sprintf(mode_msg, "MODE:%s\r\n", Mode_Name(sat_mode));
            HAL_UART_Transmit(&huart1, (uint8_t *)mode_msg, strlen(mode_msg), HAL_MAX_DELAY);
        }
        osDelay(50);
    }
}

/* ================================================================
 *              Task_SDLog — Raw binary logging to SD card
 *              Rate: 1Hz
 *              48 bytes per entry, 10 entries per 512-byte block
 * ================================================================ */
void Task_SDLog(void *argument)
{
    static uint8_t block_buf[SD_BLOCK_SIZE];
    uint32_t block_addr = 0;
    uint16_t buf_offset = 0;

    osDelay(3000);  /* Wait for sensors */

    /* Try initial SD card init */
    osMutexAcquire(mutexSPI_Handle, osWaitForever);
    if (SD_Init() == 0)
        sd_initialized = 1;
    osMutexRelease(mutexSPI_Handle);

    for (;;)
    {
        /* Retry init if card not ready */
        if (!sd_initialized)
        {
            osDelay(5000);
            osMutexAcquire(mutexSPI_Handle, osWaitForever);
            if (SD_Init() == 0)
                sd_initialized = 1;
            osMutexRelease(mutexSPI_Handle);
            continue;
        }

        /* Gather data */
        IMU_Data_t imu_local;
        osMutexAcquire(mutexIMU_Handle, osWaitForever);
        imu_local = imu_data;
        osMutexRelease(mutexIMU_Handle);

        BMP_Data_t bmp_local;
        osMutexAcquire(mutexBMP_Handle, osWaitForever);
        bmp_local = bmp_data;
        osMutexRelease(mutexBMP_Handle);

        Alarm_Flags_t alarm_local;
        osMutexAcquire(mutexAlarm_Handle, osWaitForever);
        alarm_local = alarm_flags;
        osMutexRelease(mutexAlarm_Handle);

        uint8_t alarm_bits = alarm_local.tilt
                           | (alarm_local.temp_high     << 1)
                           | (alarm_local.pres_abnormal << 2)
                           | (alarm_local.alt_critical  << 3);

        /* Build 48-byte log packet */
        uint32_t timestamp = HAL_GetTick();
        uint32_t sync      = LOG_SYNC_MARKER;

        memcpy(&block_buf[buf_offset +  0], &sync,                   4);
        memcpy(&block_buf[buf_offset +  4], &timestamp,              4);
        memcpy(&block_buf[buf_offset +  8], &imu_local.accel_x,      4);
        memcpy(&block_buf[buf_offset + 12], &imu_local.accel_y,      4);
        memcpy(&block_buf[buf_offset + 16], &imu_local.accel_z,      4);
        memcpy(&block_buf[buf_offset + 20], &imu_local.gyro_x,       4);
        memcpy(&block_buf[buf_offset + 24], &imu_local.gyro_y,       4);
        memcpy(&block_buf[buf_offset + 28], &imu_local.gyro_z,       4);
        memcpy(&block_buf[buf_offset + 32], &bmp_local.temperature,  4);
        memcpy(&block_buf[buf_offset + 36], &bmp_local.pressure,     4);
        memcpy(&block_buf[buf_offset + 40], &bmp_local.altitude,     4);
        block_buf[buf_offset + 44] = alarm_bits;
        block_buf[buf_offset + 45] = sat_mode;
        block_buf[buf_offset + 46] = 0;  /* Reserved */
        block_buf[buf_offset + 47] = 0;  /* Reserved */

        buf_offset += 48;

        /* Flush block when full (10 packets = 480 bytes) */
        if (buf_offset >= 480)
        {
            memset(&block_buf[buf_offset], 0, SD_BLOCK_SIZE - buf_offset);

            osMutexAcquire(mutexSPI_Handle, osWaitForever);
            if (SD_WriteBlock(block_addr, block_buf) != 0)
                sd_initialized = 0;  /* Mark for reinit on next cycle */
            osMutexRelease(mutexSPI_Handle);

            block_addr++;
            buf_offset = 0;
        }

        osDelay(1000);
    }
}

/* USER CODE END 4 */

/* USER CODE BEGIN Header_StartDefaultTask */
/**
  * @brief  Default task — LED heartbeat + ERROR mode buzzer
  *
  * LED behavior per mode:
  *   NOMINAL:    500ms toggle (calm blink)
  *   SAFE:       2000ms toggle (slow blink)
  *   SCIENCE:    100ms toggle (fast blink)
  *   ERROR_LOW:  100ms toggle + short beeps
  *   ERROR_HIGH: LED solid ON + buzzer continuous
  */
/* USER CODE END Header_StartDefaultTask */
void StartDefaultTask(void *argument)
{
  /* USER CODE BEGIN 5 */
    for (;;)
    {
        switch (sat_mode)
        {
            case MODE_NOMINAL:
                HAL_GPIO_TogglePin(LED_GPIO_Port, LED_Pin);
                osDelay(500);
                break;

            case MODE_SAFE:
                HAL_GPIO_TogglePin(LED_GPIO_Port, LED_Pin);
                osDelay(2000);
                break;

            case MODE_SCIENCE:
                HAL_GPIO_TogglePin(LED_GPIO_Port, LED_Pin);
                osDelay(100);
                break;

            case MODE_ERROR_LOW:
                HAL_GPIO_TogglePin(LED_GPIO_Port, LED_Pin);
                Buzzer_Beep(50, 0, 1);
                osDelay(150);
                break;

            case MODE_ERROR_HIGH:
                HAL_GPIO_WritePin(LED_GPIO_Port, LED_Pin, GPIO_PIN_SET);
                HAL_GPIO_WritePin(BUZZER_GPIO_Port, BUZZER_Pin, GPIO_PIN_SET);
                osDelay(200);
                break;

            default:
                osDelay(500);
                break;
        }
    }
  /* USER CODE END 5 */
}

void HAL_TIM_PeriodElapsedCallback(TIM_HandleTypeDef *htim)
{
  if (htim->Instance == TIM1)
  {
    HAL_IncTick();
  }
}

void Error_Handler(void)
{
  __disable_irq();
  while (1)
  {
  }
}
